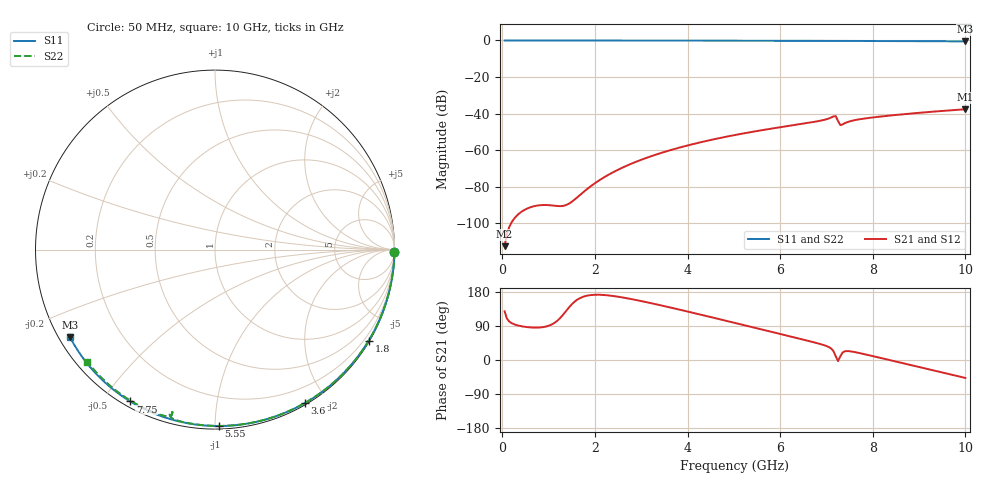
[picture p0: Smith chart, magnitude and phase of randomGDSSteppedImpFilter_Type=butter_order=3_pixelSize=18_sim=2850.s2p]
! freq	dB(S11)	phase(S11)	dB(S12)	phase(S12)
!  dB(S21)	phase(S21)	dB(S22)	phase(S22)
!S-par simulation data
#  GHz  S  DB  R 50
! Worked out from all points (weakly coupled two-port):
!   200 points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, 50 MHz to 10 GHz, reference 50 ohm
!   highest |S21| = -37.59 dB at 10 GHz (marker M1); lowest = -112.4 dB at 50 MHz (marker M2)
!   lowest |S11| = -0.5 dB at 10 GHz (marker M3), VSWR 34.56, Z = 1.56 - j13.9 ohm
!   |S11| at or under -10 dB: nowhere
!   |S22| runs from -0.6 to 0.0 dB; largest |S21 - S12| = 0
!   S11 on the Smith chart (normalised r, x): 50 MHz: open; 1.8 GHz: 0.03, -3.65; 3.6 GHz: 0.02, -1.74; 5.55 GHz: 0.02, -1.02; 7.75 GHz: 0.02, -0.59; 10 GHz: 0.03, -0.28
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0.05  -0.00 -0.9  -112.42 128.5  -112.42 128.5  -0.00 -0.8
0.9  -0.02 -15.5  -89.91 87.1  -89.91 87.1  -0.02 -14.4
1.75  -0.04 -29.8  -82.88 167.0  -82.88 167.0  -0.04 -27.7
1.8  -0.04 -30.6  -81.83 168.8  -81.83 168.8  -0.04 -28.5
1.9  -0.04 -32.3  -79.85 171.2  -79.85 171.2  -0.04 -30.0
2.25  -0.05 -38.0  -74.01 170.9  -74.01 170.9  -0.05 -35.4
2.65  -0.06 -44.6  -68.85 163.9  -68.85 163.9  -0.05 -41.5
3  -0.07 -50.2  -65.21 155.5  -65.21 155.5  -0.06 -46.7
3.4  -0.08 -56.5  -61.71 144.9  -61.71 144.9  -0.07 -52.7
3.6  -0.08 -59.7  -60.16 139.3  -60.16 139.3  -0.07 -55.6
4.3  -0.10 -70.4  -55.53 119.2  -55.53 119.2  -0.09 -65.7
5.05  -0.13 -81.6  -51.54 97.0  -51.54 97.0  -0.12 -76.2
5.55  -0.15 -88.8  -49.27 82.2  -49.27 82.2  -0.14 -83.0
6.7  -0.20 -105.0  -44.65 47.6  -44.65 47.6  -0.19 -98.3
7.05  -0.23 -109.7  -42.64 34.2  -42.64 34.2  -0.23 -103.3
7.2  -0.24 -111.8  -41.35 9.9  -41.35 9.9  -0.51 -105.7
7.3  -0.25 -113.1  -46.26 9.9  -46.26 9.9  -0.42 -104.6
7.5  -0.26 -115.8  -44.22 23.1  -44.22 23.1  -0.27 -107.6
7.75  -0.28 -119.2  -42.92 17.3  -42.92 17.3  -0.27 -111.0
8.35  -0.33 -127.1  -41.09 0.3  -41.09 0.3  -0.31 -118.6
9.2  -0.41 -138.3  -39.12 -24.2  -39.12 -24.2  -0.39 -129.0
10  -0.50 -148.9  -37.59 -47.4  -37.59 -47.4  -0.48 -138.8
